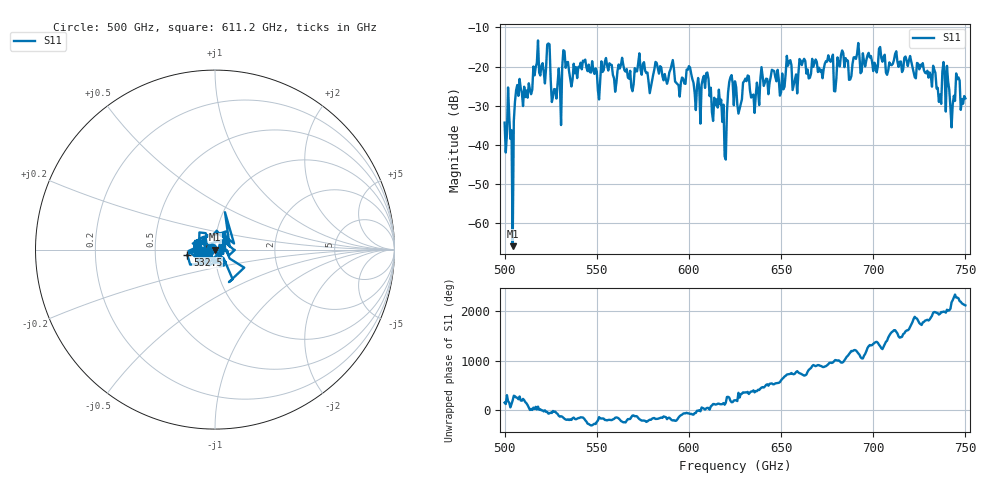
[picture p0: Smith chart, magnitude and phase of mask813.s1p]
!Created with skrf (http://scikit-rf.org).
# GHz S MA R 50.0
!freq magS11 angS11
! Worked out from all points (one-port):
!   401 points, 500 GHz to 750 GHz, reference 50 ohm
!   lowest |S11| = -66.0 dB at 504.4 GHz (marker M1), VSWR 1.00, Z = 50 - j0.0178 ohm
!   |S11| at or under -10 dB: start of sweep to end of sweep
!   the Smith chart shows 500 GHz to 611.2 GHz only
!   S11 on the Smith chart (normalised r, x): 500 GHz: 0.97, +0.02; 532.5 GHz: 0.73, -0.04; 611.2 GHz: 1.08, +0.02
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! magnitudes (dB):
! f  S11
! 500 GHz  -34.4
! 502.5 GHz  -32.5
! 504.4 GHz  -66.0
! 507.5 GHz  -27.5
! 523.8 GHz  -14.1
! 526.9 GHz  -25.8
! 531.2 GHz  -20.2
! 532.5 GHz  -16.1
! 550.6 GHz  -26.1
! 562.5 GHz  -20.5
! 579.4 GHz  -25.2
! 590.6 GHz  -19.6
! 593.8 GHz  -24.5
! 600 GHz  -19.9
! 605 GHz  -22.9
! 611.2 GHz  -27.6
! 617.5 GHz  -28.5
! 619.4 GHz  -43.0
! 622.5 GHz  -22.8
! 625 GHz  -23.8
! 656.2 GHz  -26.0
! 687.5 GHz  -23.3
! 691.2 GHz  -16.7
! 718.8 GHz  -19.9
! 738.8 GHz  -21.7
! 743.1 GHz  -29.7
! 745.6 GHz  -23.3
! 750 GHz  -28.2
